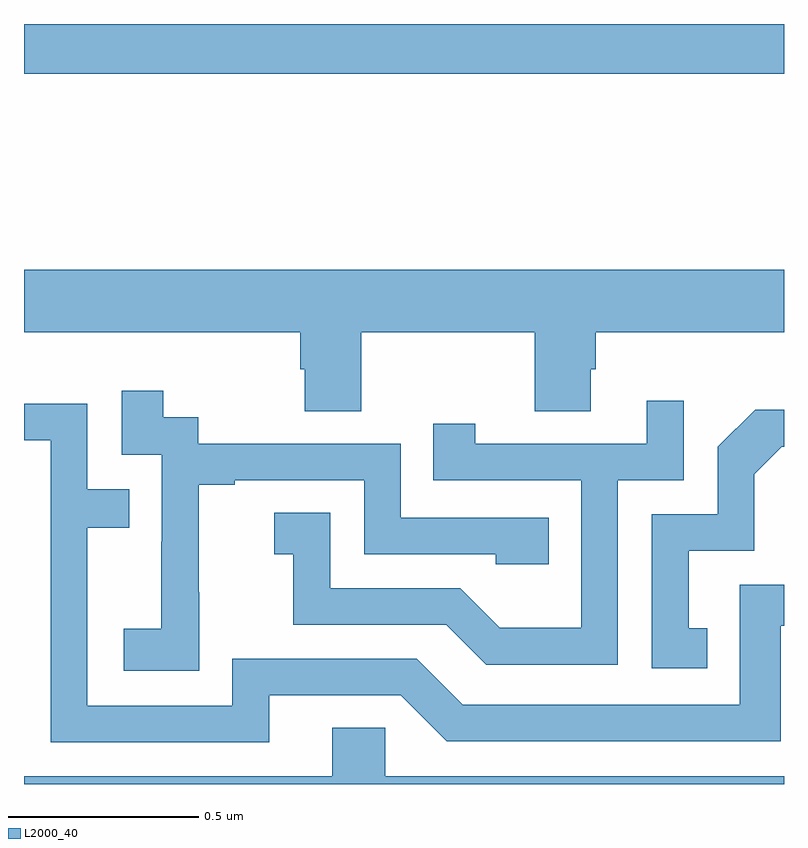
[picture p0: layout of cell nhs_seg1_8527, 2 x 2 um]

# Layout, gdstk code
import gdstk
lib = gdstk.Library(unit=1e-6, precision=1e-09)
def R(c, l, rs):  # rectangles x0, y0, x1, y1
    for r in rs: c.add(gdstk.rectangle(r[:2], r[2:], *l))
def P(c, l, *ps):  # polygons
    for p in ps: c.add(gdstk.Polygon(p, *l))
L2000_40 = (2000, 40)

nhs_seg1_8527 = lib.new_cell('nhs_seg1_8527')
R(nhs_seg1_8527, L2000_40, [(217,563.068,219,563.199)])
P(nhs_seg1_8527, L2000_40, [(217.887,562.388),(218.344,562.388),(218.344,562.18),(218.491,562.18),(218.491,562.29),(218.504,562.29),(218.504,562.388),(219,562.388),(219,562.552),(217,562.552),(217,562.388),(217.727,562.388),(217.727,562.29),(217.739,562.29),(217.739,562.18),(217.887,562.18)],
  [(217.461,561.703),(217.46,561.703),(217.46,561.987),(217.555,561.987),(217.555,561.999),(217.896,561.999),(217.896,561.804),(218.241,561.804),(218.241,561.777),(218.381,561.777),(218.381,561.9),(217.992,561.9),(217.992,562.095),(217.458,562.095),(217.458,562.164),(217.366,562.164),(217.366,562.234),(217.257,562.234),(217.257,562.065),(217.362,562.065),(217.362,561.836),(217.361,561.836),(217.361,561.607),(217.263,561.607),(217.263,561.497),(217.461,561.497)],
  [(218.562,561.999),(218.736,561.999),(218.736,562.207),(218.639,562.207),(218.639,562.095),(218.188,562.095),(218.188,562.147),(218.077,562.147),(218.077,561.999),(218.466,561.999),(218.466,561.61),(218.252,561.61),(218.148,561.714),(217.806,561.714),(217.806,561.913),(217.659,561.913),(217.659,561.803),(217.708,561.803),(217.708,561.618),(218.111,561.618),(218.216,561.513),(218.562,561.513)],
  [(217.645,561.432),(217.992,561.432),(218.112,561.312),(218.992,561.312),(218.992,561.615),(219,561.615),(219,561.723),(218.883,561.723),(218.883,561.408),(218.154,561.408),(218.034,561.528),(217.548,561.528),(217.548,561.405),(217.167,561.405),(217.167,561.874),(217.277,561.874),(217.277,561.975),(217.167,561.975),(217.167,562.2),(217,562.2),(217,562.104),(217.071,562.104),(217.071,561.309),(217.645,561.309)],
  [(218.798,561.609),(218.749,561.609),(218.749,561.813),(218.922,561.813),(218.922,562.014),(218.994,562.086),(219,562.086),(219,562.184),(218.924,562.184),(218.826,562.086),(218.826,561.909),(218.652,561.909),(218.652,561.504),(218.798,561.504)],
  [(219,561.22),(217.95,561.22),(217.95,561.347),(217.811,561.347),(217.811,561.22),(217,561.22),(217,561.199),(219,561.199)])

lib.write_gds('nhs_seg1_8527.gds')
